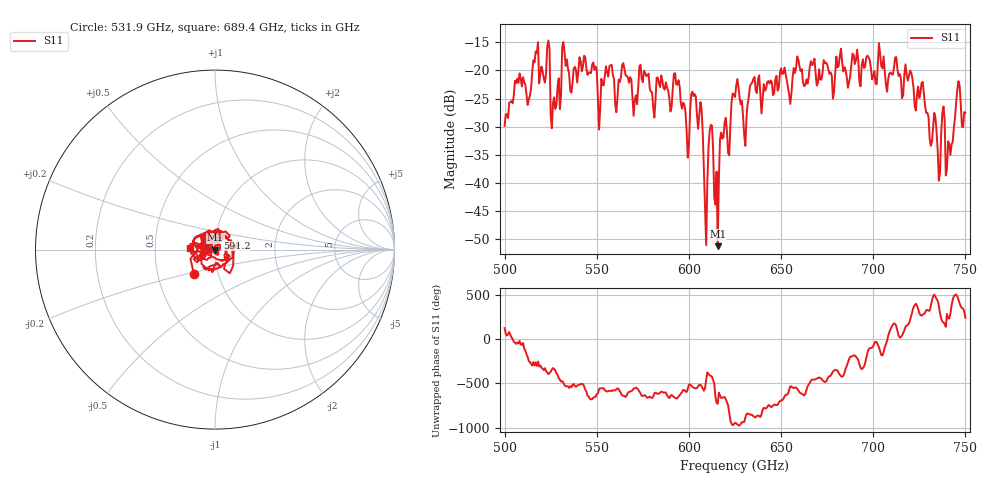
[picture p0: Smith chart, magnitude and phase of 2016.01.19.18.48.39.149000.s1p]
!Created with skrf (http://scikit-rf.org).
# GHz S RI R 50.0
!freq ReS11 ImS11
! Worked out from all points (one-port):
!   401 points, 500 GHz to 750 GHz, reference 50 ohm
!   lowest |S11| = -51.2 dB at 615.6 GHz (marker M1), VSWR 1.01, Z = 50.3 - j0.0426 ohm
!   |S11| at or under -10 dB: start of sweep to end of sweep
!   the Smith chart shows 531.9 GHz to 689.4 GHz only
!   S11 on the Smith chart (normalised r, x): 531.9 GHz: 0.76, -0.21; 591.2 GHz: 1.02, +0.14; 689.4 GHz: 0.76, +0.01
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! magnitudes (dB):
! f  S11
! 500 GHz  -29.8
! 513.1 GHz  -25.2
! 516.9 GHz  -16.6
! 523.1 GHz  -15.8
! 526.2 GHz  -25.8
! 531.2 GHz  -15.9
! 531.9 GHz  -15.0
! 562.5 GHz  -22.1
! 591.2 GHz  -23.2
! 593.8 GHz  -22.5
! 598.8 GHz  -30.7
! 602.5 GHz  -24.6
! 606.2 GHz  -25.6
! 609.4 GHz  -51.0
! 611.9 GHz  -29.7
! 615.6 GHz  -51.2
! 618.1 GHz  -32.1
! 625 GHz  -24.7
! 630.6 GHz  -33.4
! 634.4 GHz  -22.1
! 656.2 GHz  -21.3
! 687.5 GHz  -21.0
! 689.4 GHz  -17.2
! 718.8 GHz  -21.8
! 735.6 GHz  -39.6
! 740.6 GHz  -32.6
! 746.2 GHz  -21.9
! 750 GHz  -27.5
